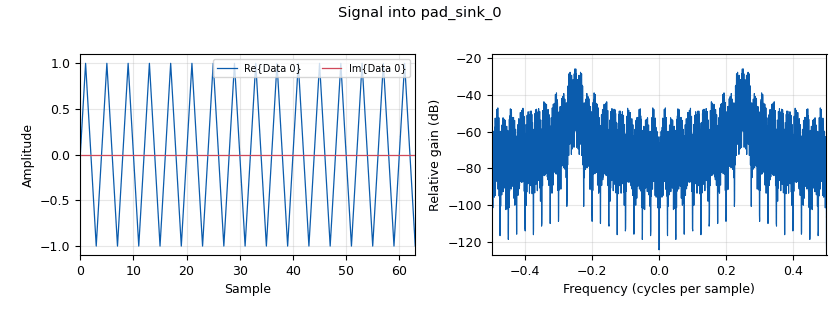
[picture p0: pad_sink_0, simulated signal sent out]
options:
  parameters:
    category: '[Radar Waveform Blocks]'
    generate_options: hb
    id: Polytimewaveform
    output_language: python
    title: Polytime waveform Block
  states: {}

blocks:
- name: Kind_of_signal
  id: parameter
  parameters:
    label: kind of signal
    type: str
    value: T1
  states: {}
- name: analog_sig_source_x_0
  id: analog_sig_source_x
  parameters:
    amp: source_amplitude
    freq: signal_freq
    offset: '0'
    phase: '0'
    samp_rate: samp_rate
    type: float
    waveform: analog.GR_SIN_WAVE
  states: {}
- name: analog_sig_source_x_0_0
  id: analog_sig_source_x
  parameters:
    amp: source_amplitude
    freq: signal_freq
    offset: '0'
    phase: '0'
    samp_rate: samp_rate
    type: float
    waveform: analog.GR_SIN_WAVE
  states: {}
- name: blocks_float_to_complex_0
  id: blocks_float_to_complex
  parameters: {}
  states: {}
- name: blocks_multiply_xx_0
  id: blocks_multiply_xx
  parameters:
    type: float
  states: {}
- name: blocks_multiply_xx_0_0
  id: blocks_multiply_xx
  parameters:
    type: float
  states: {}
- name: blocks_repeat_0
  id: blocks_repeat
  parameters:
    interp: int(interp)
    type: float
  states: {}
- name: blocks_repeat_0_0
  id: blocks_repeat
  parameters:
    interp: int(interp)
    type: float
  states: {}
- name: center_freq
  id: parameter
  parameters:
    label: center frequency
    type: eng_float
    value: 910e6
  states: {}
- name: delta_f
  id: parameter
  parameters:
    label: Delta F
    value: '2000'
  states: {}
- name: epy_block_0
  id: epy_block
  parameters:
    _source_code: |
      """
      Embedded Python Blocks:

      Each time this file is saved, GRC will instantiate the first class it finds
      to get ports and parameters of your block. The arguments to __init__  will
      be the parameters. All of them are required to have default values!
      """

      import numpy as np
      from gnuradio import gr
      import math

      def pol2cart(theta,rho):
          x =rho * math.cos(theta)
          y =rho * math.sin(theta)
          return x, y


      class blk(gr.sync_block):  # other base classes are basic_block, decim_block, interp_block
          """Embedded Python Block example - a simple multiply const"""

          def __init__(self, kind_of_signal = "T1",number_of_segment = 4,phase_state = 2, delta_f = 2000, t_seg = 0.004, t_interval = 1e-4):  # only default arguments here
              """arguments to this function show up as parameters in GRC"""
              gr.sync_block.__init__(
                  self,
                  name='Polytime Code Vector Source',   # will show up in GRC
                  in_sig=None,
                  out_sig=[np.float32, np.float32]
              )
              # if an attribute with the same name as a parameter is found,
              # a callback is registered (properties work, too).
              self.k = k = number_of_segment
              self.kind = kind_of_signal
              self.n = phase_state
              self.delta_f = delta_f
              self.t_interval = t_interval
              self.t_seg = 0.004
              self.T = self.t_seg * k
              self.t_vector = np.arange(0,self.T,self.t_interval)
              self.seg_len = int(len(self.t_vector)/k)
              

          def work(self, input_items, output_items):
              """example: multiply with constant"""
              items = np.zeros((len(self.t_vector),2))
              if self.kind == 'T1':
                  for j in range(0,self.k,1):
                      for time in range(0,self.seg_len):
                          T1_theta = np.mod((2*math.pi/self.n)*math.floor((self.k*self.t_vector[(j*self.seg_len)+time]-j*self.T)*j*self.n/self.T),2*math.pi)
                          items[j*self.seg_len+time] = pol2cart(T1_theta,1)
              
              elif self.kind == 'T2':
                  for j in range(0,self.k,1):
                      for time in range(0,self.seg_len):
                          T2_theta = np.mod((2*math.pi/self.n)*math.floor((self.k*self.t_vector[(j*self.seg_len)+time]-j*self.T)*(2*j-self.k+1)/self.T*self.n/2),2*math.pi)
                          items[j*self.seg_len+time] = pol2cart(T2_theta,1)

              elif self.kind == 'T3':
                  for j in range(0,self.k,1):
                      for time in range(0,self.seg_len):
                          T3_theta = np.mod((2*math.pi/self.n)*math.floor((self.n*self.delta_f*math.pow(self.t_vector[(j*self.seg_len)+time],2))/(2*self.T)),2*math.pi)
                          items[j*self.seg_len+time] = pol2cart(T3_theta,1)

              elif self.kind == 'T4':
                  for j in range(0,self.k,1):
                      for time in range(0,self.seg_len):
                          T4_theta = np.mod((2*math.pi/self.n)*math.floor((self.n*self.delta_f*math.pow(self.t_vector[(j*self.seg_len)+time],2))/(2*self.T)-(self.n*self.delta_f*self.t_vector[(j*self.seg_len)+time]/2)),2*math.pi)
                          items[j*self.seg_len+time] = pol2cart(T4_theta,1)            
              
              items = np.round(items,3)
              
              for i in range(len(output_items[0])):
                  output_items[0][i] = items[i%len(self.t_vector)][0]
                  output_items[1][i] = items[i%len(self.t_vector)][1] 
              return len(output_items[0])
    delta_f: delta_f
    kind_of_signal: Kind_of_signal
    number_of_segment: segment
    phase_state: phase_state
    t_interval: '0.0001'
    t_seg: '0.004'
  states: {}
- name: interp
  id: parameter
  parameters:
    label: interpolation
    type: eng_float
    value: 2e6/500e3
  states: {}
- name: pad_sink_0
  id: pad_sink
  parameters:
    label: out
    type: complex
  states: {}
- name: phase_state
  id: parameter
  parameters:
    label: Phase state
    type: intx
    value: '2'
  states: {}
- name: samp_rate
  id: parameter
  parameters:
    label: Sample_rate
    type: eng_float
    value: 2e6
  states: {}
- name: segment
  id: parameter
  parameters:
    label: Number of segment
    value: '4'
  states: {}
- name: signal_freq
  id: parameter
  parameters:
    label: Signal Frequency
    type: eng_float
    value: 2e6/4
  states: {}
- name: source_amplitude
  id: parameter
  parameters:
    label: Source Amplitude
    type: eng_float
    value: '1'
  states: {}

connections:
- [analog_sig_source_x_0, '0', blocks_multiply_xx_0, '0']
- [analog_sig_source_x_0_0, '0', blocks_multiply_xx_0_0, '0']
- [blocks_float_to_complex_0, '0', pad_sink_0, '0']
- [blocks_multiply_xx_0, '0', blocks_float_to_complex_0, '0']
- [blocks_multiply_xx_0_0, '0', blocks_float_to_complex_0, '1']
- [blocks_repeat_0, '0', blocks_multiply_xx_0_0, '1']
- [blocks_repeat_0_0, '0', blocks_multiply_xx_0, '1']
- [epy_block_0, '0', blocks_repeat_0_0, '0']
- [epy_block_0, '1', blocks_repeat_0, '0']

metadata:
  file_format: 1
